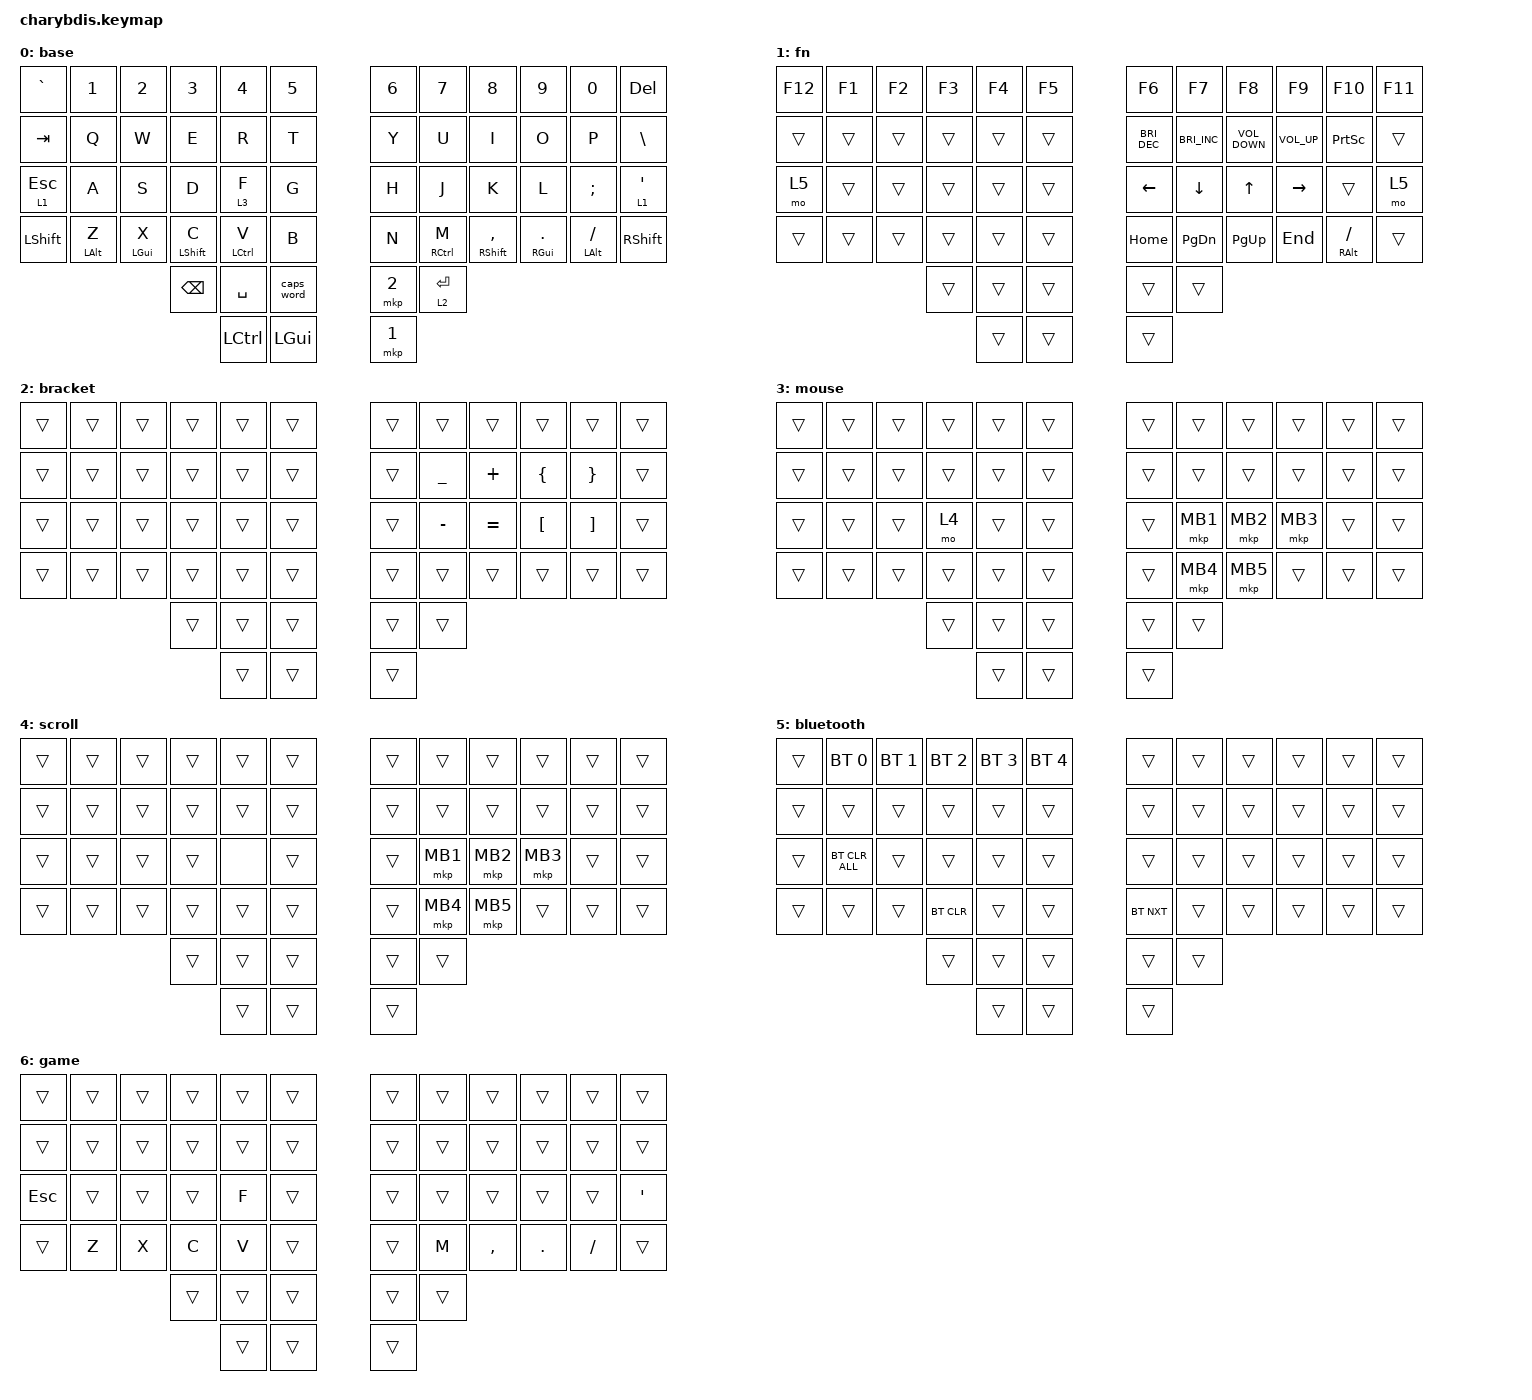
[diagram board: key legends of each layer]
#include <behaviors.dtsi>
#include <dt-bindings/zmk/bt.h>
#include <dt-bindings/zmk/keys.h>
#include <dt-bindings/zmk/pointing.h>

/*
Key codes
0  1  2  3  4  5  6  7  8  9  10 11
12 13 14 15 16 17 18 19 20 21 22 23
24 25 26 27 28 29 30 31 32 33 34 35
36 37 38 39 40 41 42 43 44 45 46 47
         48 49 50 51 52
            53 54 55
*/

&lt {
    tapping-term-ms = <200>;
    flavor = "balanced";
    quick-tap-ms = <200>;
};

/ {
    combos {
        compatible = "zmk,combos";
        combo_game_layer {
            timeout-ms = <50>;
            key-positions = <50 54>;
            bindings = <&tog 6>;
        };
    };

    behaviors {
        lth: layer_tap_hold_preferred {
            compatible = "zmk,behavior-hold-tap";
            #binding-cells = <2>;
            flavor = "hold-preferred";
            tapping-term-ms = <200>;
            quick-tap-ms = <200>;
            bindings = <&mo>, <&kp>;
            display-name = "Layer-Tap Hold Preferred";
        };

        hml: home_row_mod_left {
            compatible = "zmk,behavior-hold-tap";
            #binding-cells = <2>;
            flavor = "balanced";
            require-prior-idle-ms = <128>;
            tapping-term-ms = <280>;
            quick-tap-ms = <200>;
            bindings = <&kp>, <&kp>;
            display-name = "Home Row Mod Left";

            // List of keys on the right side of the keyboard
            // shift excluded
            hold-trigger-key-positions = <
                6  7  8  9  10 11
                18 19 20 21 22 23
                30 31 32 33 34 35
                42 43 44 45 46
                51 52
                55
            >;
            hold-trigger-on-release;
        };

        hmr: home_row_mod_right {
            compatible = "zmk,behavior-hold-tap";
            #binding-cells = <2>;
            flavor = "balanced";
            require-prior-idle-ms = <128>;
            tapping-term-ms = <280>;
            quick-tap-ms = <200>;
            bindings = <&kp>, <&kp>;
            display-name = "Home Row Mod Right";

            // List of keys on the left side of the keyboard
            // shift excluded
            hold-trigger-key-positions = <
                0  1  2  3  4  5
                12 13 14 15 16 17
                24 25 26 27 28 29
                   37 38 39 40 41
                         48 49 50
                            53 54
            >;
            hold-trigger-on-release;
        };
    };

    keymap {
        compatible = "zmk,keymap";

        base {
            display-name = "base";
            bindings = <
&kp GRAVE       &kp N1       &kp N2       &kp N3         &kp N4        &kp N5      &kp N6  &kp N7        &kp N8             &kp N9         &kp N0          &kp DELETE
&kp TAB         &kp Q        &kp W        &kp E          &kp R         &kp T       &kp Y   &kp U         &kp I              &kp O          &kp P           &kp BSLH
&lth 1 ESC      &kp A        &kp S        &kp D          &lt 3 F       &kp G       &kp H   &kp J         &kp K              &kp L          &kp SEMI        &lt 1 SQT
&kp LEFT_SHIFT  &hml LALT Z  &hml LGUI X  &hml LSHIFT C  &hml LCTRL V  &kp B       &kp N   &hmr RCTRL M  &hmr RSHIFT COMMA  &hmr RGUI DOT  &hmr LALT FSLH  &kp RIGHT_SHIFT
                                          &kp BACKSPACE  &kp SPACE     &caps_word  &mkp 2  &lth 2 ENTER
                                                         &kp LCTRL     &kp LGUI    &mkp 1
            >;
        };

        fn {
            display-name = "fn";
            bindings = <
&kp F12  &kp F1  &kp F2  &kp F3  &kp F4  &kp F5    &kp F6                &kp F7                &kp F8             &kp F9           &kp F10          &kp F11
&trans   &trans  &trans  &trans  &trans  &trans    &kp C_BRIGHTNESS_DEC  &kp C_BRIGHTNESS_INC  &kp C_VOLUME_DOWN  &kp C_VOLUME_UP  &kp PRINTSCREEN  &trans
&mo 5    &trans  &trans  &trans  &trans  &trans    &kp LEFT              &kp DOWN              &kp UP             &kp RIGHT        &trans           &mo 5
&trans   &trans  &trans  &trans  &trans  &trans    &kp HOME              &kp PG_DN             &kp PG_UP          &kp END          &hmr RALT FSLH   &trans
                         &trans  &trans  &trans    &trans                &trans
                                 &trans  &trans    &trans
            >;
        };

        bracket {
            display-name = "bracket";
            bindings = <
&trans  &trans  &trans  &trans  &trans  &trans    &trans  &trans          &trans     &trans          &trans           &trans
&trans  &trans  &trans  &trans  &trans  &trans    &trans  &kp UNDERSCORE  &kp PLUS   &kp LEFT_BRACE  &kp RIGHT_BRACE  &trans
&trans  &trans  &trans  &trans  &trans  &trans    &trans  &kp MINUS       &kp EQUAL  &kp LBKT        &kp RBKT         &trans
&trans  &trans  &trans  &trans  &trans  &trans    &trans  &trans          &trans     &trans          &trans           &trans
                        &trans  &trans  &trans    &trans  &trans
                                &trans  &trans    &trans
            >;
        };

        mouse {
            display-name = "mouse";
            bindings = <
&trans  &trans  &trans  &trans  &trans  &trans    &trans    &trans    &trans    &trans    &trans  &trans
&trans  &trans  &trans  &trans  &trans  &trans    &trans    &trans    &trans    &trans    &trans  &trans
&trans  &trans  &trans  &mo 4   &trans  &trans    &trans    &mkp MB1  &mkp MB2  &mkp MB3  &trans  &trans
&trans  &trans  &trans  &trans  &trans  &trans    &trans    &mkp MB4  &mkp MB5  &trans    &trans  &trans
                        &trans  &trans  &trans    &trans    &trans
                                &trans  &trans    &trans
            >;
        };

        scroll {
            display-name = "scroll";
            bindings = <
&trans  &trans  &trans  &trans  &trans  &trans    &trans    &trans    &trans    &trans    &trans  &trans
&trans  &trans  &trans  &trans  &trans  &trans    &trans    &trans    &trans    &trans    &trans  &trans
&trans  &trans  &trans  &trans  &none   &trans    &trans    &mkp MB1  &mkp MB2  &mkp MB3  &trans  &trans
&trans  &trans  &trans  &trans  &trans  &trans    &trans    &mkp MB4  &mkp MB5  &trans    &trans  &trans
                        &trans  &trans  &trans    &trans    &trans
                                &trans  &trans    &trans
            >;
        };

        bluetooth {
            display-name = "bluetooth";
            bindings = <
&trans  &bt BT_SEL 0    &bt BT_SEL 1  &bt BT_SEL 2  &bt BT_SEL 3  &bt BT_SEL 4    &trans      &trans  &trans  &trans  &trans  &trans
&trans  &trans          &trans        &trans        &trans        &trans          &trans      &trans  &trans  &trans  &trans  &trans
&trans  &bt BT_CLR_ALL  &trans        &trans        &trans        &trans          &trans      &trans  &trans  &trans  &trans  &trans
&trans  &trans          &trans        &bt BT_CLR    &trans        &trans          &bt BT_NXT  &trans  &trans  &trans  &trans  &trans
                                      &trans        &trans        &trans          &trans      &trans
                                                    &trans        &trans          &trans
            >;
        };

        game {
            display-name = "game";
            bindings = <
&trans  &trans  &trans  &trans  &trans  &trans    &trans    &trans    &trans    &trans    &trans    &trans
&trans  &trans  &trans  &trans  &trans  &trans    &trans    &trans    &trans    &trans    &trans    &trans
&kp ESC &trans  &trans  &trans  &kp F   &trans    &trans    &trans    &trans    &trans    &trans    &kp SQT
&trans  &kp Z   &kp X   &kp C   &kp V   &trans    &trans    &kp M     &kp COMMA &kp DOT   &kp FSLH  &trans
                        &trans  &trans  &trans    &trans    &trans
                                &trans  &trans    &trans
            >;
        };
    };
};
